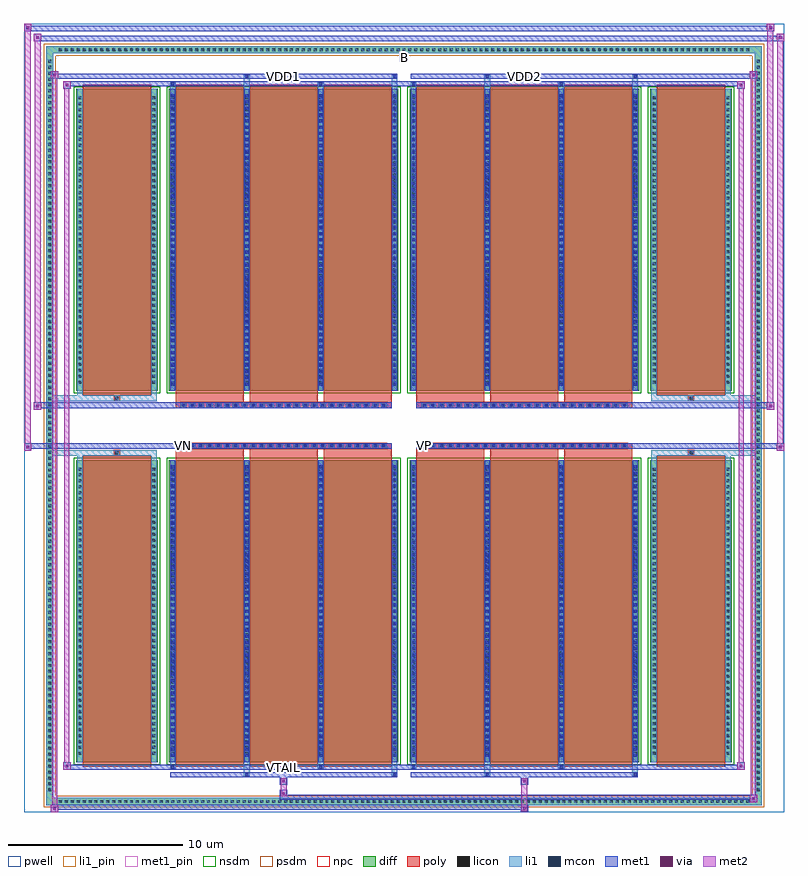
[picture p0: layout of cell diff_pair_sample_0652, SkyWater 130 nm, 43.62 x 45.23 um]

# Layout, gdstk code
import gdstk
lib = gdstk.Library(unit=1e-6, precision=5e-09)
def R(c, l, rs):  # rectangles x0, y0, x1, y1
    for r in rs: c.add(gdstk.rectangle(r[:2], r[2:], *l))
def A(c, l, x, y, w, h, nx, ny, dx, dy):  # array of equal rectangles
    R(c, l, [(x+i*dx, y+j*dy, x+i*dx+w, y+j*dy+h) for i in range(nx) for j in range(ny)])
def P(c, l, *ps):  # polygons
    for p in ps: c.add(gdstk.Polygon(p, *l))
pwell = (64, 44)
diff = (65, 20)
poly = (66, 20)
licon = (66, 44)
li1_pin = (67, 16)
li1 = (67, 20)
mcon = (67, 44)
met1_pin = (68, 16)
met1 = (68, 20)
via = (68, 44)
met2 = (69, 20)
nsdm = (93, 44)
psdm = (94, 20)
npc = (95, 20)

diff_pair_sample_0652 = lib.new_cell('diff_pair_sample_0652')
R(diff_pair_sample_0652, pwell, [(-21.81,-22.18,21.81,23.05), (-19.13,-20.37,-0.01,-0.805), (0.01,-20.37,19.13,-0.805), (-19.13,0.805,-0.01,20.37), (0.01,0.805,19.13,20.37)])
A(diff_pair_sample_0652, diff, -19.925, -21.78, 0.41, 0.41, 117, 2, 0.34, 43.15)
A(diff_pair_sample_0652, diff, -20.54, -21.115, 0.41, 0.41, 1, 124, 0, 0.34)
A(diff_pair_sample_0652, diff, 20.13, -21.115, 0.41, 0.41, 1, 124, 0, 0.34)
R(diff_pair_sample_0652, diff, [(-19.925,-21.78,19.925,-21.37), (-20.54,-21.115,-20.13,21.115), (20.13,-21.115,20.54,21.115), (-18.82,-19.325,-14.13,-1.985), (-13.49,-19.325,-0.32,-1.985), (0.32,-19.325,13.49,-1.985), (14.13,-19.325,18.82,-1.985), (-18.82,1.985,-14.13,19.325), (-13.49,1.985,-0.32,19.325), (0.32,1.985,13.49,19.325), (14.13,1.985,18.82,19.325), (-19.925,21.37,19.925,21.78)])
P(diff_pair_sample_0652, diff, [(20.54,21.78),(-20.54,21.78),(-20.54,-21.37),(-20.13,-21.37),(-20.13,21.37),(20.13,21.37),(20.13,-21.37),(-20.13,-21.37),(-20.54,-21.37),(-20.54,-21.78),(20.54,-21.78)])
A(diff_pair_sample_0652, poly, -13.1, -19.575, 3.91, 17.84, 3, 2, 4.24, 21.31)
A(diff_pair_sample_0652, poly, 0.71, -19.575, 3.91, 17.84, 3, 2, 4.24, 21.31)
A(diff_pair_sample_0652, poly, -13.1, -1.735, 3.91, 0.4, 3, 2, 4.24, 3.07)
A(diff_pair_sample_0652, poly, 0.71, -1.735, 3.91, 0.4, 3, 2, 4.24, 3.07)
A(diff_pair_sample_0652, poly, -12.82, -1.335, 0.33, 0.33, 24, 2, 0.5, 2.34)
A(diff_pair_sample_0652, poly, 0.99, -1.335, 0.33, 0.33, 24, 2, 0.5, 2.34)
R(diff_pair_sample_0652, poly, [(-18.43,-19.575,-14.52,-1.735), (14.52,-19.575,18.43,-1.735), (-16.64,-1.735,-16.31,-1.405), (-16.64,-1.735,-16.31,-1.405), (16.31,-1.735,16.64,-1.405), (16.31,-1.735,16.64,-1.405), (-13.1,-1.335,-0.71,-1.005), (0.71,-1.335,13.1,-1.005), (-13.1,1.005,-0.71,1.335), (0.71,1.005,13.1,1.335), (-16.64,1.405,-16.31,1.735), (-16.64,1.405,-16.31,1.735), (16.31,1.405,16.64,1.735), (16.31,1.405,16.64,1.735), (-18.43,1.735,-14.52,19.575), (14.52,1.735,18.43,19.575)])
A(diff_pair_sample_0652, licon, -19.805, -21.66, 0.17, 0.17, 117, 2, 0.34, 43.15)
A(diff_pair_sample_0652, licon, -20.42, -20.995, 0.17, 0.17, 1, 124, 0, 0.34)
A(diff_pair_sample_0652, licon, 20.25, -20.995, 0.17, 0.17, 1, 124, 0, 0.34)
A(diff_pair_sample_0652, licon, -18.68, -18.9, 0.17, 0.17, 1, 49, 0, 0.34)
A(diff_pair_sample_0652, licon, -14.44, -18.9, 0.17, 0.17, 1, 49, 0, 0.34)
A(diff_pair_sample_0652, licon, -13.35, -18.9, 0.17, 0.17, 4, 49, 4.24, 0.34)
A(diff_pair_sample_0652, licon, 0.46, -18.9, 0.17, 0.17, 4, 49, 4.24, 0.34)
A(diff_pair_sample_0652, licon, 14.27, -18.9, 0.17, 0.17, 1, 49, 0, 0.34)
A(diff_pair_sample_0652, licon, 18.51, -18.9, 0.17, 0.17, 1, 49, 0, 0.34)
A(diff_pair_sample_0652, licon, -12.74, -1.255, 0.17, 0.17, 24, 2, 0.5, 2.34)
A(diff_pair_sample_0652, licon, 1.07, -1.255, 0.17, 0.17, 24, 2, 0.5, 2.34)
A(diff_pair_sample_0652, licon, -18.68, 2.41, 0.17, 0.17, 1, 49, 0, 0.34)
A(diff_pair_sample_0652, licon, -14.44, 2.41, 0.17, 0.17, 1, 49, 0, 0.34)
A(diff_pair_sample_0652, licon, -13.35, 2.41, 0.17, 0.17, 4, 49, 4.24, 0.34)
A(diff_pair_sample_0652, licon, 0.46, 2.41, 0.17, 0.17, 4, 49, 4.24, 0.34)
A(diff_pair_sample_0652, licon, 14.27, 2.41, 0.17, 0.17, 1, 49, 0, 0.34)
A(diff_pair_sample_0652, licon, 18.51, 2.41, 0.17, 0.17, 1, 49, 0, 0.34)
R(diff_pair_sample_0652, licon, [(-16.56,-1.655,-16.39,-1.485), (16.39,-1.655,16.56,-1.485), (-16.56,1.485,-16.39,1.655), (16.39,1.485,16.56,1.655)])
R(diff_pair_sample_0652, li1_pin, [(-0.25,20.87,0.25,21.37)])
A(diff_pair_sample_0652, li1, -19.885, -21.74, 0.33, 0.33, 117, 2, 0.34, 43.15)
A(diff_pair_sample_0652, li1, -20.5, -21.075, 0.33, 0.33, 1, 124, 0, 0.34)
A(diff_pair_sample_0652, li1, 20.17, -21.075, 0.33, 0.33, 1, 124, 0, 0.34)
A(diff_pair_sample_0652, li1, -13.43, -19.325, 0.33, 17.34, 4, 2, 4.24, 21.31)
A(diff_pair_sample_0652, li1, 0.38, -19.325, 0.33, 17.34, 4, 2, 4.24, 21.31)
A(diff_pair_sample_0652, li1, -13.35, -19.02, 0.17, 0.17, 4, 47, 4.24, 0.36)
A(diff_pair_sample_0652, li1, -13.35, -19.02, 0.17, 16.73, 4, 2, 4.24, 21.31)
A(diff_pair_sample_0652, li1, 0.46, -19.02, 0.17, 0.17, 4, 47, 4.24, 0.36)
A(diff_pair_sample_0652, li1, 0.46, -19.02, 0.17, 16.73, 4, 2, 4.24, 21.31)
A(diff_pair_sample_0652, li1, -18.76, -18.98, 0.33, 0.33, 1, 49, 0, 0.34)
A(diff_pair_sample_0652, li1, -14.52, -18.98, 0.33, 0.33, 1, 49, 0, 0.34)
A(diff_pair_sample_0652, li1, -13.43, -18.98, 0.33, 0.33, 4, 49, 4.24, 0.34)
A(diff_pair_sample_0652, li1, 0.38, -18.98, 0.33, 0.33, 4, 49, 4.24, 0.34)
A(diff_pair_sample_0652, li1, 14.19, -18.98, 0.33, 0.33, 1, 49, 0, 0.34)
A(diff_pair_sample_0652, li1, 18.43, -18.98, 0.33, 0.33, 1, 49, 0, 0.34)
A(diff_pair_sample_0652, li1, -12.82, -1.335, 0.33, 0.33, 24, 2, 0.5, 2.34)
A(diff_pair_sample_0652, li1, 0.99, -1.335, 0.33, 0.33, 24, 2, 0.5, 2.34)
A(diff_pair_sample_0652, li1, -13.35, 2.29, 0.17, 0.17, 4, 47, 4.24, 0.36)
A(diff_pair_sample_0652, li1, 0.46, 2.29, 0.17, 0.17, 4, 47, 4.24, 0.36)
A(diff_pair_sample_0652, li1, -18.76, 2.33, 0.33, 0.33, 1, 49, 0, 0.34)
A(diff_pair_sample_0652, li1, -14.52, 2.33, 0.33, 0.33, 1, 49, 0, 0.34)
A(diff_pair_sample_0652, li1, -13.43, 2.33, 0.33, 0.33, 4, 49, 4.24, 0.34)
A(diff_pair_sample_0652, li1, 0.38, 2.33, 0.33, 0.33, 4, 49, 4.24, 0.34)
A(diff_pair_sample_0652, li1, 14.19, 2.33, 0.33, 0.33, 1, 49, 0, 0.34)
A(diff_pair_sample_0652, li1, 18.43, 2.33, 0.33, 0.33, 1, 49, 0, 0.34)
R(diff_pair_sample_0652, li1, [(-20.54,-21.78,-20.13,-21.37), (-20.54,-21.78,-20.13,-21.37), (-20.13,-21.78,20.13,-21.37), (20.13,-21.78,20.54,-21.37), (20.13,-21.78,20.54,-21.37), (-20.54,-21.37,-20.13,21.37), (20.13,-21.37,20.54,21.37), (-9.19,-20.13,-8.86,-19.325), (-9.11,-20.13,-8.94,-19.96), (-0.71,-20.13,-0.38,-19.325), (-0.63,-20.13,-0.46,-19.96), (4.62,-20.13,4.95,-19.325), (4.7,-20.13,4.87,-19.96), (13.1,-20.13,13.43,-19.325), (13.18,-20.13,13.35,-19.96), (-13.43,-19.7,-13.1,-19.325), (-13.35,-19.7,-13.18,-19.53), (-4.95,-19.7,-4.62,-19.325), (-4.87,-19.7,-4.7,-19.53), (0.38,-19.7,0.71,-19.325), (0.46,-19.7,0.63,-19.53), (8.86,-19.7,9.19,-19.325), (8.94,-19.7,9.11,-19.53), (-18.76,-19.325,-18.43,-1.985), (-14.52,-19.325,-14.19,-1.985), (14.19,-19.325,14.52,-1.985), (18.43,-19.325,18.76,-1.985), (-18.76,-1.985,-18.43,-1.405), (-14.52,-1.985,-14.19,-1.405), (14.19,-1.985,14.52,-1.405), (18.43,-1.985,18.76,-1.405), (-20.54,-1.735,-16.64,-1.405), (-18.76,-1.735,-16.64,-1.405), (-16.64,-1.735,-16.31,-1.405), (-16.31,-1.735,-14.19,-1.405), (14.19,-1.735,16.31,-1.405), (16.31,-1.735,16.64,-1.405), (16.31,-1.735,20.54,-1.405), (16.64,-1.735,18.76,-1.405), (-20.54,1.405,-16.64,1.735), (-18.76,1.405,-16.64,1.735), (-18.76,1.405,-18.43,1.985), (-16.64,1.405,-16.31,1.735), (-16.31,1.405,-14.19,1.735), (-14.52,1.405,-14.19,1.985), (14.19,1.405,16.31,1.735), (14.19,1.405,14.52,1.985), (16.31,1.405,16.64,1.735), (16.31,1.405,20.54,1.735), (16.64,1.405,18.76,1.735), (18.43,1.405,18.76,1.985), (-18.76,1.985,-18.43,19.325), (-14.52,1.985,-14.19,19.325), (14.19,1.985,14.52,19.325), (18.43,1.985,18.76,19.325), (-13.43,19.325,-13.1,19.7), (-9.19,19.325,-8.86,20.13), (-4.95,19.325,-4.62,19.7), (-0.71,19.325,-0.38,20.13), (0.38,19.325,0.71,19.7), (4.62,19.325,4.95,20.13), (8.86,19.325,9.19,19.7), (13.1,19.325,13.43,20.13), (-13.35,19.53,-13.18,19.7), (-4.87,19.53,-4.7,19.7), (0.46,19.53,0.63,19.7), (8.94,19.53,9.11,19.7), (-9.11,19.96,-8.94,20.13), (-0.63,19.96,-0.46,20.13), (4.7,19.96,4.87,20.13), (13.18,19.96,13.35,20.13), (-20.54,21.37,-20.13,21.78), (-20.54,21.37,-20.13,21.78), (-20.13,21.37,20.13,21.78), (20.13,21.37,20.54,21.78), (20.13,21.37,20.54,21.78)])
A(diff_pair_sample_0652, mcon, -13.35, -19.02, 0.17, 0.17, 4, 47, 4.24, 0.36)
A(diff_pair_sample_0652, mcon, 0.46, -19.02, 0.17, 0.17, 4, 47, 4.24, 0.36)
A(diff_pair_sample_0652, mcon, -12.74, -1.255, 0.17, 0.17, 24, 2, 0.5, 2.34)
A(diff_pair_sample_0652, mcon, 1.07, -1.255, 0.17, 0.17, 24, 2, 0.5, 2.34)
A(diff_pair_sample_0652, mcon, -13.35, 2.29, 0.17, 0.17, 4, 47, 4.24, 0.36)
A(diff_pair_sample_0652, mcon, 0.46, 2.29, 0.17, 0.17, 4, 47, 4.24, 0.36)
R(diff_pair_sample_0652, mcon, [(-9.11,-20.13,-8.94,-19.96), (-0.63,-20.13,-0.46,-19.96), (4.7,-20.13,4.87,-19.96), (13.18,-20.13,13.35,-19.96), (-13.35,-19.7,-13.18,-19.53), (-4.87,-19.7,-4.7,-19.53), (0.46,-19.7,0.63,-19.53), (8.94,-19.7,9.11,-19.53), (-13.35,19.53,-13.18,19.7), (-4.87,19.53,-4.7,19.7), (0.46,19.53,0.63,19.7), (8.94,19.53,9.11,19.7), (-9.11,19.96,-8.94,20.13), (-0.63,19.96,-0.46,20.13), (4.7,19.96,4.87,20.13), (13.18,19.96,13.35,20.13)])
R(diff_pair_sample_0652, met1_pin, [(-7.04,-19.74,-6.77,-19.47), (-12.79,-1.295,-12.52,-1.025), (1.02,-1.295,1.29,-1.025), (-7.04,19.92,-6.77,20.19), (6.77,19.92,7.04,20.19)])
A(diff_pair_sample_0652, met1, -13.41, -19.325, 0.29, 17.34, 4, 2, 4.24, 21.31)
A(diff_pair_sample_0652, met1, 0.4, -19.325, 0.29, 17.34, 4, 2, 4.24, 21.31)
A(diff_pair_sample_0652, met1, -13.41, -19.08, 0.29, 0.29, 4, 47, 4.24, 0.36)
A(diff_pair_sample_0652, met1, 0.4, -19.08, 0.29, 0.29, 4, 47, 4.24, 0.36)
A(diff_pair_sample_0652, met1, -12.8, -1.315, 0.29, 0.29, 24, 2, 0.5, 2.34)
A(diff_pair_sample_0652, met1, 1.01, -1.315, 0.29, 0.29, 24, 2, 0.5, 2.34)
A(diff_pair_sample_0652, met1, -13.41, 2.23, 0.29, 0.29, 4, 47, 4.24, 0.36)
A(diff_pair_sample_0652, met1, 0.4, 2.23, 0.29, 0.29, 4, 47, 4.24, 0.36)
R(diff_pair_sample_0652, met1, [(-20.27,-22.18,-19.84,-21.75), (6.69,-22.18,7.12,-21.75), (-20.27,-22.04,7.12,-21.75), (19.84,-21.61,20.27,-21.18), (-7.12,-21.47,20.27,-21.18), (-7.12,-21.33,-6.69,-20.9), (-7.12,-20.62,-6.69,-20.19), (6.69,-20.62,7.12,-20.19), (-13.41,-20.19,-0.4,-19.9), (-9.17,-20.19,-8.88,-19.9), (-0.69,-20.19,-0.4,-19.9), (0.4,-20.19,13.41,-19.9), (4.64,-20.19,4.93,-19.9), (13.12,-20.19,13.41,-19.9), (-19.56,-19.76,-19.13,-19.33), (-19.56,-19.76,-13.41,-19.47), (-13.41,-19.76,-13.12,-19.47), (-13.41,-19.76,-0.4,-19.47), (-4.93,-19.76,-4.64,-19.47), (-0.4,-19.76,0.4,-19.47), (0.4,-19.76,0.69,-19.47), (0.4,-19.76,13.41,-19.47), (8.88,-19.76,9.17,-19.47), (13.41,-19.76,19.56,-19.47), (19.13,-19.76,19.56,-19.33), (-21.81,-1.435,-21.38,-1.005), (21.38,-1.435,21.81,-1.005), (-21.81,-1.335,-0.71,-1.005), (-13.1,-1.335,-0.71,-1.005), (0.71,-1.335,13.1,-1.005), (0.71,-1.335,21.81,-1.005), (-21.24,0.905,-20.81,1.335), (20.81,0.905,21.24,1.335), (-21.24,1.005,-13.1,1.335), (-13.1,1.005,-0.71,1.335), (0.71,1.005,13.1,1.335), (13.1,1.005,21.24,1.335), (-19.56,19.33,-19.13,19.76), (19.13,19.33,19.56,19.76), (-19.56,19.47,-13.41,19.76), (-13.41,19.47,-13.12,19.76), (-13.41,19.47,-0.4,19.76), (-4.93,19.47,-4.64,19.76), (-0.4,19.47,0.4,19.76), (0.4,19.47,0.69,19.76), (0.4,19.47,13.41,19.76), (8.88,19.47,9.17,19.76), (13.41,19.47,19.56,19.76), (-20.27,19.9,-19.84,20.33), (-20.27,19.9,-13.41,20.19), (-13.41,19.9,-0.4,20.19), (-9.17,19.9,-8.88,20.19), (-0.69,19.9,-0.4,20.19), (0.4,19.9,13.41,20.19), (4.64,19.9,4.93,20.19), (13.12,19.9,13.41,20.19), (13.41,19.9,20.27,20.19), (19.84,19.9,20.27,20.33), (-21.24,22.05,-20.81,22.48), (-21.24,22.05,-19.13,22.38), (-19.13,22.05,19.13,22.38), (19.13,22.05,21.81,22.38), (21.38,22.05,21.81,22.48), (-21.81,22.62,-21.38,23.05), (-21.81,22.62,-19.13,22.95), (-19.13,22.62,19.13,22.95), (19.13,22.62,21.24,22.95), (20.81,22.62,21.24,23.05)])
R(diff_pair_sample_0652, via, [(-20.13,-22.04,-19.98,-21.89), (6.83,-22.04,6.98,-21.89), (19.98,-21.47,20.13,-21.32), (-6.98,-21.19,-6.83,-21.04), (-6.98,-20.48,-6.83,-20.33), (6.83,-20.48,6.98,-20.33), (-19.42,-19.62,-19.27,-19.47), (19.27,-19.62,19.42,-19.47), (-21.67,-1.295,-21.52,-1.145), (21.52,-1.295,21.67,-1.145), (-21.1,1.045,-20.95,1.195), (20.95,1.045,21.1,1.195), (-19.42,19.47,-19.27,19.62), (19.27,19.47,19.42,19.62), (-20.13,20.04,-19.98,20.19), (19.98,20.04,20.13,20.19), (-21.1,22.19,-20.95,22.34), (21.52,22.19,21.67,22.34), (-21.67,22.76,-21.52,22.91), (20.95,22.76,21.1,22.91)])
R(diff_pair_sample_0652, met2, [(-20.27,-22.18,-19.84,-21.75), (-20.2,-22.18,-19.91,20.33), (-19.91,-22.18,-19.84,-21.75), (-20.22,-22.13,-19.89,-21.8), (6.74,-22.13,7.07,-21.8), (6.74,-21.8,7.07,-20.57), (19.84,-21.61,20.27,-21.18), (19.91,-21.61,20.2,20.33), (20.2,-21.61,20.27,-21.18), (19.89,-21.56,20.22,-21.23), (-7.07,-21.28,-6.74,-20.95), (-7.07,-20.95,-6.74,-20.57), (-7.07,-20.57,-6.74,-20.24), (6.74,-20.57,7.07,-20.24), (-19.56,-19.76,-19.13,-19.33), (-19.49,-19.76,-19.2,19.76), (-19.2,-19.76,-19.13,-19.33), (19.13,-19.76,19.56,-19.33), (19.2,-19.76,19.49,19.76), (19.49,-19.76,19.56,-19.33), (-19.51,-19.71,-19.18,-19.38), (19.18,-19.71,19.51,-19.38), (-21.81,-1.435,-21.38,-1.005), (-21.76,-1.435,-21.43,23.05), (-21.43,-1.435,-21.38,-1.005), (21.38,-1.435,21.81,-1.005), (21.43,-1.435,21.76,22.48), (21.76,-1.435,21.81,-1.005), (-21.76,-1.385,-21.43,-1.055), (21.43,-1.385,21.76,-1.055), (-21.24,0.905,-20.81,1.335), (-21.19,0.905,-20.86,22.48), (-20.86,0.905,-20.81,1.335), (20.81,0.905,21.24,1.335), (20.86,0.905,21.19,23.05), (21.19,0.905,21.24,1.335), (-21.19,0.955,-20.86,1.285), (20.86,0.955,21.19,1.285), (-19.56,19.33,-19.13,19.76), (-19.2,19.33,-19.13,19.76), (19.13,19.33,19.56,19.76), (19.49,19.33,19.56,19.76), (-19.51,19.38,-19.18,19.71), (19.18,19.38,19.51,19.71), (-20.27,19.9,-19.84,20.33), (-19.91,19.9,-19.84,20.33), (19.84,19.9,20.27,20.33), (20.2,19.9,20.27,20.33), (-20.22,19.95,-19.89,20.28), (19.89,19.95,20.22,20.28), (-21.24,22.05,-20.81,22.48), (-20.86,22.05,-20.81,22.48), (21.38,22.05,21.81,22.48), (21.76,22.05,21.81,22.48), (-21.19,22.1,-20.86,22.43), (21.43,22.1,21.76,22.43), (-21.81,22.62,-21.38,23.05), (-21.43,22.62,-21.38,23.05), (20.81,22.62,21.24,23.05), (21.19,22.62,21.24,23.05), (-21.76,22.67,-21.43,23), (20.86,22.67,21.19,23)])
R(diff_pair_sample_0652, nsdm, [(-18.95,-19.455,-14,-1.855), (-13.62,-19.455,-0.19,-1.855), (0.19,-19.455,13.62,-1.855), (14,-19.455,18.95,-1.855), (-18.95,1.855,-14,19.455), (-13.62,1.855,-0.19,19.455), (0.19,1.855,13.62,19.455), (14,1.855,18.95,19.455)])
P(diff_pair_sample_0652, psdm, [(20.67,21.91),(-20.67,21.91),(-20.67,-21.24),(-20,-21.24),(-20,21.24),(20,21.24),(20,-21.24),(-20,-21.24),(-20.67,-21.24),(-20.67,-21.91),(20.67,-21.91)])
A(diff_pair_sample_0652, npc, -12.84, -1.355, 0.37, 0.37, 24, 2, 0.5, 2.34)
A(diff_pair_sample_0652, npc, 0.97, -1.355, 0.37, 0.37, 24, 2, 0.5, 2.34)
R(diff_pair_sample_0652, npc, [(-16.66,-1.755,-16.29,-1.385), (16.29,-1.755,16.66,-1.385), (-12.84,-1.355,-11.97,-0.985), (-12.84,-1.355,-11.97,-0.985), (-12.34,-1.355,-11.47,-0.985), (-12.34,-1.355,-11.47,-0.985), (-11.84,-1.355,-10.97,-0.985), (-11.84,-1.355,-10.97,-0.985), (-11.34,-1.355,-10.47,-0.985), (-11.34,-1.355,-10.47,-0.985), (-10.84,-1.355,-9.97,-0.985), (-10.84,-1.355,-9.97,-0.985), (-10.34,-1.355,-9.47,-0.985), (-10.34,-1.355,-9.47,-0.985), (-9.84,-1.355,-8.97,-0.985), (-9.84,-1.355,-8.97,-0.985), (-9.34,-1.355,-8.47,-0.985), (-9.34,-1.355,-8.47,-0.985), (-8.84,-1.355,-7.97,-0.985), (-8.84,-1.355,-7.97,-0.985), (-8.34,-1.355,-7.47,-0.985), (-8.34,-1.355,-7.47,-0.985), (-7.84,-1.355,-6.97,-0.985), (-7.84,-1.355,-6.97,-0.985), (-7.34,-1.355,-6.47,-0.985), (-7.34,-1.355,-6.47,-0.985), (-6.84,-1.355,-5.97,-0.985), (-6.84,-1.355,-5.97,-0.985), (-6.34,-1.355,-5.47,-0.985), (-6.34,-1.355,-5.47,-0.985), (-5.84,-1.355,-4.97,-0.985), (-5.84,-1.355,-4.97,-0.985), (-5.34,-1.355,-4.47,-0.985), (-5.34,-1.355,-4.47,-0.985), (-4.84,-1.355,-3.97,-0.985), (-4.84,-1.355,-3.97,-0.985), (-4.34,-1.355,-3.47,-0.985), (-4.34,-1.355,-3.47,-0.985), (-3.84,-1.355,-2.97,-0.985), (-3.84,-1.355,-2.97,-0.985), (-3.34,-1.355,-2.47,-0.985), (-3.34,-1.355,-2.47,-0.985), (-2.84,-1.355,-1.97,-0.985), (-2.84,-1.355,-1.97,-0.985), (-2.34,-1.355,-1.47,-0.985), (-2.34,-1.355,-1.47,-0.985), (-1.84,-1.355,-0.97,-0.985), (-1.84,-1.355,-0.97,-0.985), (0.97,-1.355,1.84,-0.985), (0.97,-1.355,1.84,-0.985), (1.47,-1.355,2.34,-0.985), (1.47,-1.355,2.34,-0.985), (1.97,-1.355,2.84,-0.985), (1.97,-1.355,2.84,-0.985), (2.47,-1.355,3.34,-0.985), (2.47,-1.355,3.34,-0.985), (2.97,-1.355,3.84,-0.985), (2.97,-1.355,3.84,-0.985), (3.47,-1.355,4.34,-0.985), (3.47,-1.355,4.34,-0.985), (3.97,-1.355,4.84,-0.985), (3.97,-1.355,4.84,-0.985), (4.47,-1.355,5.34,-0.985), (4.47,-1.355,5.34,-0.985), (4.97,-1.355,5.84,-0.985), (4.97,-1.355,5.84,-0.985), (5.47,-1.355,6.34,-0.985), (5.47,-1.355,6.34,-0.985), (5.97,-1.355,6.84,-0.985), (5.97,-1.355,6.84,-0.985), (6.47,-1.355,7.34,-0.985), (6.47,-1.355,7.34,-0.985), (6.97,-1.355,7.84,-0.985), (6.97,-1.355,7.84,-0.985), (7.47,-1.355,8.34,-0.985), (7.47,-1.355,8.34,-0.985), (7.97,-1.355,8.84,-0.985), (7.97,-1.355,8.84,-0.985), (8.47,-1.355,9.34,-0.985), (8.47,-1.355,9.34,-0.985), (8.97,-1.355,9.84,-0.985), (8.97,-1.355,9.84,-0.985), (9.47,-1.355,10.34,-0.985), (9.47,-1.355,10.34,-0.985), (9.97,-1.355,10.84,-0.985), (9.97,-1.355,10.84,-0.985), (10.47,-1.355,11.34,-0.985), (10.47,-1.355,11.34,-0.985), (10.97,-1.355,11.84,-0.985), (10.97,-1.355,11.84,-0.985), (11.47,-1.355,12.34,-0.985), (11.47,-1.355,12.34,-0.985), (11.97,-1.355,12.84,-0.985), (11.97,-1.355,12.84,-0.985), (-12.84,0.985,-11.97,1.355), (-12.84,0.985,-11.97,1.355), (-12.34,0.985,-11.47,1.355), (-12.34,0.985,-11.47,1.355), (-11.84,0.985,-10.97,1.355), (-11.84,0.985,-10.97,1.355), (-11.34,0.985,-10.47,1.355), (-11.34,0.985,-10.47,1.355), (-10.84,0.985,-9.97,1.355), (-10.84,0.985,-9.97,1.355), (-10.34,0.985,-9.47,1.355), (-10.34,0.985,-9.47,1.355), (-9.84,0.985,-8.97,1.355), (-9.84,0.985,-8.97,1.355), (-9.34,0.985,-8.47,1.355), (-9.34,0.985,-8.47,1.355), (-8.84,0.985,-7.97,1.355), (-8.84,0.985,-7.97,1.355), (-8.34,0.985,-7.47,1.355), (-8.34,0.985,-7.47,1.355), (-7.84,0.985,-6.97,1.355), (-7.84,0.985,-6.97,1.355), (-7.34,0.985,-6.47,1.355), (-7.34,0.985,-6.47,1.355), (-6.84,0.985,-5.97,1.355), (-6.84,0.985,-5.97,1.355), (-6.34,0.985,-5.47,1.355), (-6.34,0.985,-5.47,1.355), (-5.84,0.985,-4.97,1.355), (-5.84,0.985,-4.97,1.355), (-5.34,0.985,-4.47,1.355), (-5.34,0.985,-4.47,1.355), (-4.84,0.985,-3.97,1.355), (-4.84,0.985,-3.97,1.355), (-4.34,0.985,-3.47,1.355), (-4.34,0.985,-3.47,1.355), (-3.84,0.985,-2.97,1.355), (-3.84,0.985,-2.97,1.355), (-3.34,0.985,-2.47,1.355), (-3.34,0.985,-2.47,1.355), (-2.84,0.985,-1.97,1.355), (-2.84,0.985,-1.97,1.355), (-2.34,0.985,-1.47,1.355), (-2.34,0.985,-1.47,1.355), (-1.84,0.985,-0.97,1.355), (-1.84,0.985,-0.97,1.355), (0.97,0.985,1.84,1.355), (0.97,0.985,1.84,1.355), (1.47,0.985,2.34,1.355), (1.47,0.985,2.34,1.355), (1.97,0.985,2.84,1.355), (1.97,0.985,2.84,1.355), (2.47,0.985,3.34,1.355), (2.47,0.985,3.34,1.355), (2.97,0.985,3.84,1.355), (2.97,0.985,3.84,1.355), (3.47,0.985,4.34,1.355), (3.47,0.985,4.34,1.355), (3.97,0.985,4.84,1.355), (3.97,0.985,4.84,1.355), (4.47,0.985,5.34,1.355), (4.47,0.985,5.34,1.355), (4.97,0.985,5.84,1.355), (4.97,0.985,5.84,1.355), (5.47,0.985,6.34,1.355), (5.47,0.985,6.34,1.355), (5.97,0.985,6.84,1.355), (5.97,0.985,6.84,1.355), (6.47,0.985,7.34,1.355), (6.47,0.985,7.34,1.355), (6.97,0.985,7.84,1.355), (6.97,0.985,7.84,1.355), (7.47,0.985,8.34,1.355), (7.47,0.985,8.34,1.355), (7.97,0.985,8.84,1.355), (7.97,0.985,8.84,1.355), (8.47,0.985,9.34,1.355), (8.47,0.985,9.34,1.355), (8.97,0.985,9.84,1.355), (8.97,0.985,9.84,1.355), (9.47,0.985,10.34,1.355), (9.47,0.985,10.34,1.355), (9.97,0.985,10.84,1.355), (9.97,0.985,10.84,1.355), (10.47,0.985,11.34,1.355), (10.47,0.985,11.34,1.355), (10.97,0.985,11.84,1.355), (10.97,0.985,11.84,1.355), (11.47,0.985,12.34,1.355), (11.47,0.985,12.34,1.355), (11.97,0.985,12.84,1.355), (11.97,0.985,12.84,1.355), (-16.66,1.385,-16.29,1.755), (16.29,1.385,16.66,1.755)])
diff_pair_sample_0652.add(gdstk.Label('VTAIL', (-6.905,-19.605), layer=68, texttype=5))
diff_pair_sample_0652.add(gdstk.Label('VN', (-12.655,-1.16), layer=68, texttype=5))
diff_pair_sample_0652.add(gdstk.Label('VP', (1.155,-1.16), layer=68, texttype=5))
diff_pair_sample_0652.add(gdstk.Label('B', (0,21.12), layer=67, texttype=5))
diff_pair_sample_0652.add(gdstk.Label('VDD2', (6.905,20.055), layer=68, texttype=5))
diff_pair_sample_0652.add(gdstk.Label('VDD1', (-6.905,20.055), layer=68, texttype=5))

lib.write_gds('diff_pair_sample_0652.gds')
